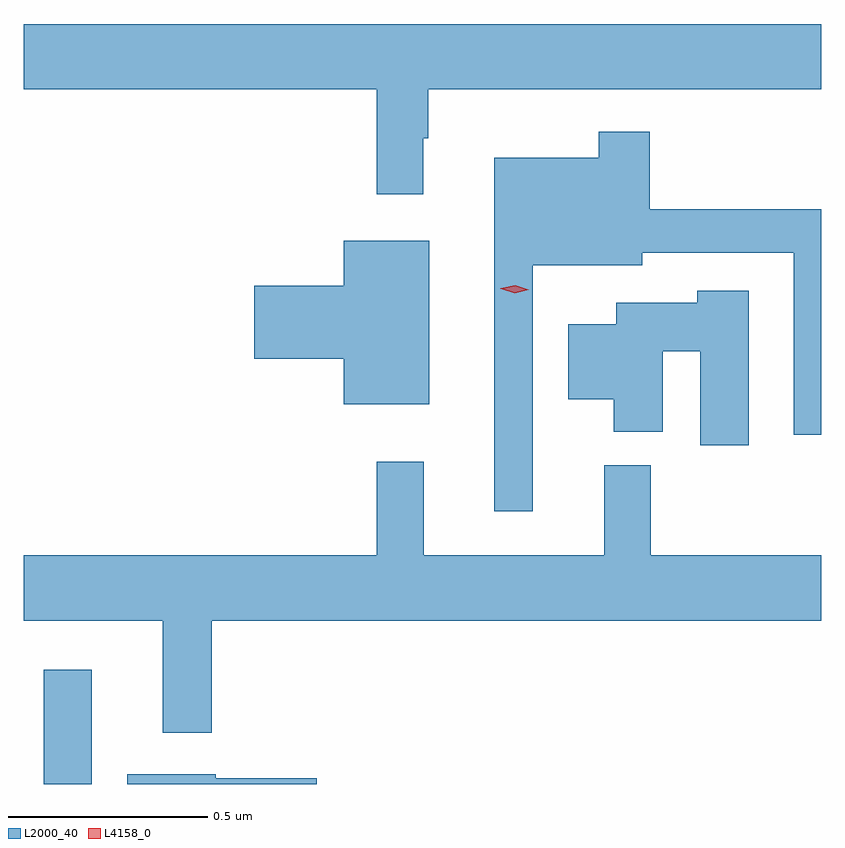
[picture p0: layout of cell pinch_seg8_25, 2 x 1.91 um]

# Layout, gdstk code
import gdstk
lib = gdstk.Library(unit=1e-6, precision=1e-09)
def R(c, l, rs):  # rectangles x0, y0, x1, y1
    for r in rs: c.add(gdstk.rectangle(r[:2], r[2:], *l))
def P(c, l, *ps):  # polygons
    for p in ps: c.add(gdstk.Polygon(p, *l))
L2000_40 = (2000, 40)
L4158_0 = (4158, 0)

pinch_seg8_25 = lib.new_cell('pinch_seg8_25')
R(pinch_seg8_25, L2000_40, [(988.89,1146.726,989.011,1147.012)])
P(pinch_seg8_25, L2000_40, [(989.842,1148.345),(989.854,1148.345),(989.854,1148.468),(990.84,1148.468),(990.84,1148.632),(988.84,1148.632),(988.84,1148.468),(989.725,1148.468),(989.725,1148.205),(989.842,1148.205)],
  [(990.117,1148.027),(990.391,1148.027),(990.391,1148.058),(990.771,1148.058),(990.771,1147.602),(990.84,1147.602),(990.84,1148.167),(990.41,1148.167),(990.41,1148.362),(990.282,1148.362),(990.282,1148.296),(990.02,1148.296),(990.02,1147.41),(990.117,1147.41)],
  [(989.857,1148.089),(989.642,1148.089),(989.642,1147.976),(989.418,1147.976),(989.418,1147.793),(989.642,1147.793),(989.642,1147.679),(989.857,1147.679)],
  [(990.658,1147.963),(990.529,1147.963),(990.529,1147.933),(990.326,1147.933),(990.326,1147.879),(990.206,1147.879),(990.206,1147.691),(990.32,1147.691),(990.32,1147.61),(990.442,1147.61),(990.442,1147.811),(990.536,1147.811),(990.536,1147.575),(990.658,1147.575)],
  [(989.311,1147.136),(990.84,1147.136),(990.84,1147.3),(990.413,1147.3),(990.413,1147.525),(990.296,1147.525),(990.296,1147.3),(989.843,1147.3),(989.843,1147.534),(989.725,1147.534),(989.725,1147.3),(988.84,1147.3),(988.84,1147.136),(989.189,1147.136),(989.189,1146.855),(989.311,1146.855)],
  [(989.575,1146.741),(989.322,1146.741),(989.322,1146.751),(989.099,1146.751),(989.099,1146.726),(989.575,1146.726)])
P(pinch_seg8_25, L4158_0, [(990.071,1147.957),(990.036,1147.968),(990.035,1147.968),(990.036,1147.969),(990.072,1147.977),(990.107,1147.965),(990.107,1147.965),(990.107,1147.965)])

lib.write_gds('pinch_seg8_25.gds')
